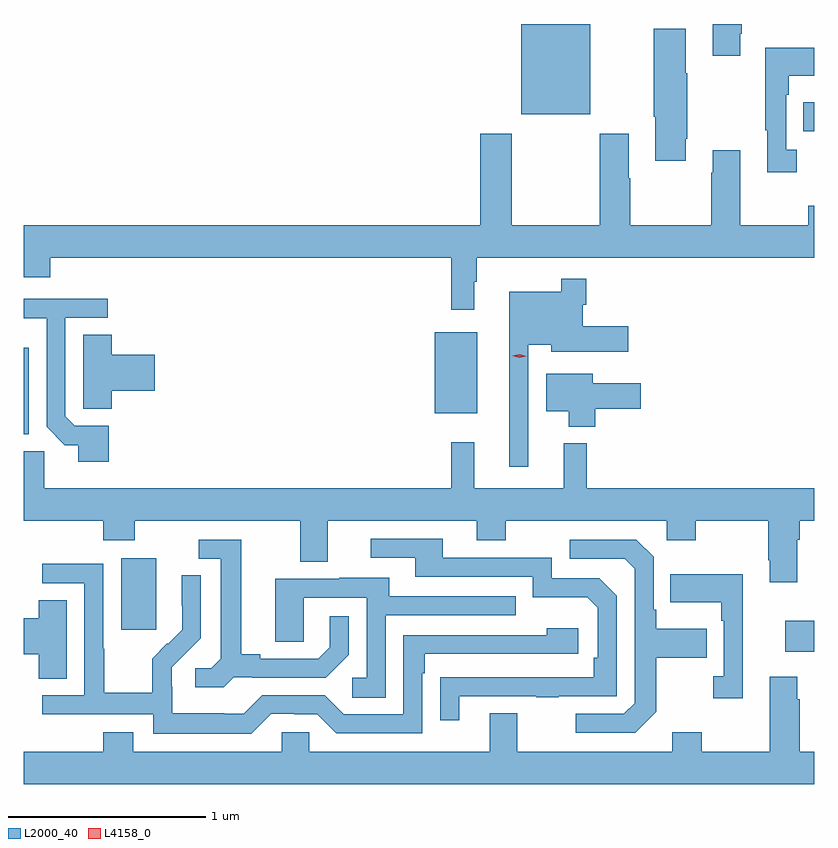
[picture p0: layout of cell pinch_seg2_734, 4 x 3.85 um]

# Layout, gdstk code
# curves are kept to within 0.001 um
import gdstk
lib = gdstk.Library(unit=1e-6, precision=1e-09)
def R(c, l, rs):  # rectangles x0, y0, x1, y1
    for r in rs: c.add(gdstk.rectangle(r[:2], r[2:], *l))
def P(c, l, *ps):  # polygons
    for p in ps: c.add(gdstk.Polygon(p, *l))
L2000_40 = (2000, 40)
L4158_0 = (4158, 0)

pinch_seg2_734 = lib.new_cell('pinch_seg2_734')
R(pinch_seg2_734, L2000_40, [(856.662,653.633,856.809,653.791), (853.301,653.745,853.48,654.106), (852.809,654.733,852.835,655.171), (854.888,654.839,855.103,655.249), (856.753,656.266,856.809,656.413), (855.326,656.354,855.676,656.81)])
P(pinch_seg2_734, L2000_40, [(856.435,656.761),(856.443,656.761),(856.443,656.81),(856.295,656.81),(856.295,656.649),(856.435,656.649)],
  [(856.159,656.23),(856.167,656.23),(856.167,656.561),(856.159,656.561),(856.159,656.785),(855.997,656.785),(855.997,656.341),(856.004,656.341),(856.004,656.118),(856.159,656.118)],
  [(856.72,656.174),(856.668,656.174),(856.668,656.453),(856.681,656.453),(856.681,656.549),(856.809,656.549),(856.809,656.689),(856.56,656.689),(856.56,656.273),(856.571,656.273),(856.571,656.061),(856.72,656.061)],
  [(855.088,655.505),(855.1,655.505),(855.1,655.628),(856.809,655.628),(856.809,655.891),(856.78,655.891),(856.78,655.792),(856.435,655.792),(856.435,656.17),(856.295,656.17),(856.295,656.057),(856.288,656.057),(856.288,655.792),(855.879,655.792),(855.879,656.03),(855.871,656.03),(855.871,656.254),(855.724,656.254),(855.724,655.792),(855.279,655.792),(855.279,656.254),(855.119,656.254),(855.119,655.792),(852.809,655.792),(852.809,655.529),(852.944,655.529),(852.944,655.628),(854.971,655.628),(854.971,655.365),(855.088,655.365)],
  [(855.363,655.187),(855.479,655.187),(855.479,655.151),(855.868,655.151),(855.868,655.281),(855.637,655.281),(855.637,655.389),(855.656,655.389),(855.656,655.522),(855.528,655.522),(855.528,655.456),(855.266,655.456),(855.266,654.57),(855.363,654.57)],
  [(853.238,654.777),(853.068,654.777),(853.02,654.825),(853.02,655.323),(853.234,655.323),(853.234,655.419),(852.809,655.419),(852.809,655.322),(852.924,655.322),(852.924,654.771),(853.017,654.679),(853.085,654.679),(853.085,654.594),(853.238,654.594)],
  [(853.253,654.953),(853.471,654.953),(853.471,655.136),(853.253,655.136),(853.253,655.238),(853.109,655.238),(853.109,654.97),(853.11,654.97),(853.11,654.862),(853.253,654.862)],
  [(855.701,654.862),(855.931,654.862),(855.931,654.991),(855.688,654.991),(855.688,655.039),(855.452,655.039),(855.452,654.851),(855.566,654.851),(855.566,654.773),(855.701,654.773)],
  [(856.723,654.2),(856.736,654.2),(856.736,654.296),(856.809,654.296),(856.809,654.46),(855.659,654.46),(855.659,654.688),(855.542,654.688),(855.542,654.46),(855.089,654.46),(855.089,654.694),(854.971,654.694),(854.971,654.46),(852.912,654.46),(852.912,654.648),(852.809,654.648),(852.809,654.296),(853.211,654.296),(853.211,654.197),(853.371,654.197),(853.371,654.296),(854.207,654.296),(854.207,654.088),(854.347,654.088),(854.347,654.296),(855.101,654.296),(855.101,654.197),(855.249,654.197),(855.249,654.296),(856.062,654.296),(856.062,654.197),(856.209,654.197),(856.209,654.296),(856.576,654.296),(856.576,654.097),(856.583,654.097),(856.583,653.985),(856.723,653.985)],
  [(855.013,653.409),(855.403,653.409),(855.403,653.404),(855.515,653.404),(855.515,653.409),(855.81,653.409),(855.81,653.916),(855.72,654.006),(855.48,654.006),(855.48,654.108),(854.929,654.108),(854.929,654.204),(854.565,654.204),(854.565,654.108),(854.789,654.108),(854.789,654.012),(855.384,654.012),(855.384,653.909),(855.661,653.909),(855.714,653.856),(855.714,653.602),(855.694,653.602),(855.694,653.505),(854.917,653.504),(854.917,653.286),(855.013,653.286)],
  [(856.009,653.329),(856.009,653.602),(856.265,653.602),(856.265,653.749),(856.009,653.749),(856.009,653.845),(855.996,653.845),(855.996,654.114),(855.909,654.201),(855.573,654.201),(855.573,654.105),(855.849,654.105),(855.9,654.054),(855.9,653.373),(855.846,653.319),(855.603,653.319),(855.603,653.223),(855.903,653.223)],
  [(853.872,653.505),(853.966,653.505),(853.966,653.502),(854.338,653.502),(854.454,653.618),(854.454,653.812),(854.357,653.812),(854.357,653.655),(854.3,653.598),(854.005,653.598),(854.005,653.621),(853.909,653.621),(853.909,654.201),(853.695,654.201),(853.695,654.105),(853.805,654.105),(853.805,653.597),(853.758,653.55),(853.677,653.55),(853.677,653.453),(853.82,653.453)],
  [(854.061,653.319),(854.177,653.319),(854.177,653.316),(854.295,653.316),(854.391,653.22),(854.826,653.22),(854.826,653.525),(854.839,653.525),(854.839,653.622),(855.616,653.622),(855.616,653.752),(855.455,653.752),(855.455,653.718),(854.73,653.718),(854.73,653.316),(854.427,653.316),(854.331,653.412),(854.016,653.412),(853.923,653.319),(853.823,653.319),(853.823,653.323),(853.56,653.323),(853.56,653.457),(853.558,653.457),(853.558,653.554),(853.704,653.702),(853.704,654.02),(853.608,654.02),(853.608,653.866),(853.61,653.866),(853.61,653.744),(853.539,653.673),(853.536,653.676),(853.459,653.599),(853.459,653.425),(853.215,653.425),(853.215,653.648),(853.212,653.648),(853.212,654.078),(852.903,654.078),(852.903,653.979),(853.116,653.979),(853.116,653.412),(852.903,653.412),(852.903,653.316),(853.464,653.316),(853.464,653.219),(853.961,653.219)],
  [(856.448,654.025),(856.081,654.025),(856.081,653.885),(856.338,653.885),(856.338,653.789),(856.35,653.789),(856.35,653.51),(856.299,653.51),(856.299,653.397),(856.448,653.397)],
  [(854.64,653.817),(855.299,653.817),(855.299,653.913),(854.659,653.913),(854.659,654.007),(854.405,654.007),(854.405,654.003),(854.081,654.003),(854.081,653.683),(854.226,653.683),(854.226,653.907),(854.544,653.907),(854.544,653.502),(854.472,653.502),(854.472,653.401),(854.64,653.401)],
  [(853.027,653.894),(852.884,653.894),(852.884,653.804),(852.809,653.804),(852.809,653.621),(852.884,653.621),(852.884,653.497),(853.027,653.497)],
  [(856.809,653.128),(856.736,653.128),(856.736,653.393),(856.723,653.393),(856.723,653.506),(856.583,653.506),(856.583,653.128),(856.239,653.128),(856.239,653.227),(856.091,653.227),(856.091,653.128),(855.307,653.128),(855.307,653.323),(855.167,653.323),(855.167,653.128),(854.253,653.128),(854.253,653.226),(854.115,653.226),(854.115,653.128),(853.363,653.128),(853.363,653.227),(853.211,653.227),(853.211,653.128),(852.809,653.128),(852.809,652.964),(856.809,652.964)])
P(pinch_seg2_734, L4158_0, [(855.317,655.12),(855.282,655.131),(855.282,655.131),(855.282,655.131),(855.318,655.14),(855.353,655.128),(855.353,655.128),(855.353,655.128)])

lib.write_gds('pinch_seg2_734.gds')
